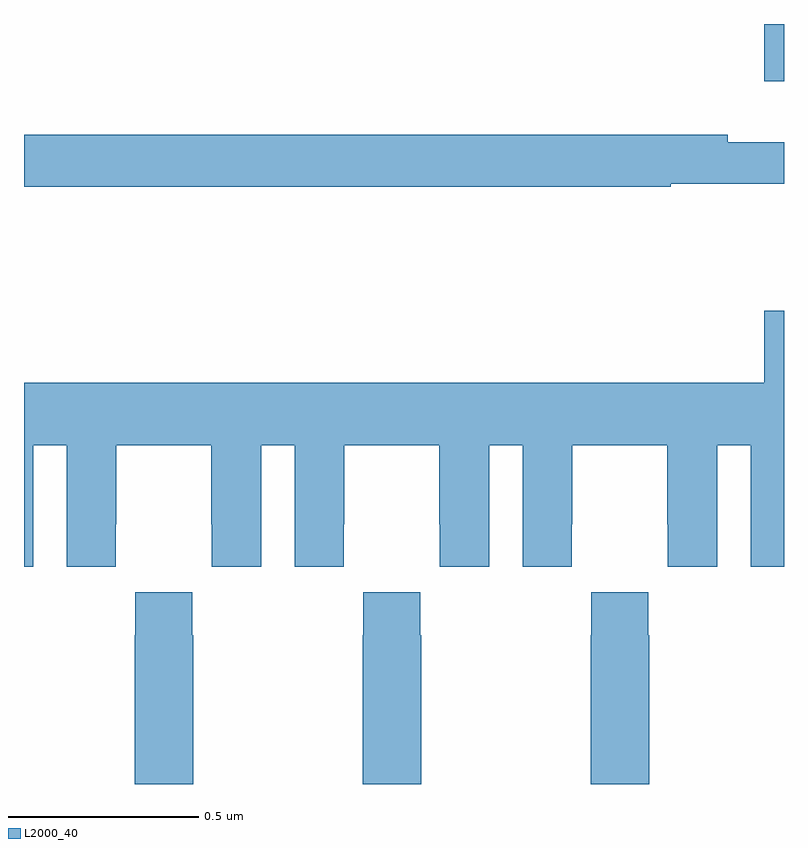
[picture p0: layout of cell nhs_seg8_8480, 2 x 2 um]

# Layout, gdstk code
import gdstk
lib = gdstk.Library(unit=1e-6, precision=1e-09)
def R(c, l, rs):  # rectangles x0, y0, x1, y1
    for r in rs: c.add(gdstk.rectangle(r[:2], r[2:], *l))
def P(c, l, *ps):  # polygons
    for p in ps: c.add(gdstk.Polygon(p, *l))
L2000_40 = (2000, 40)

nhs_seg8_8480 = lib.new_cell('nhs_seg8_8480')
R(nhs_seg8_8480, L2000_40, [(224.948,1158.75,225,1158.9)])
P(nhs_seg8_8480, L2000_40, [(224.702,1158.48),(225,1158.48),(225,1158.589),(224.852,1158.589),(224.852,1158.608),(223,1158.608),(223,1158.472),(224.702,1158.472)],
  [(223.024,1157.792),(223.112,1157.792),(223.112,1157.472),(223.242,1157.472),(223.242,1157.584),(223.243,1157.584),(223.243,1157.792),(223.493,1157.792),(223.493,1157.584),(223.494,1157.584),(223.494,1157.472),(223.624,1157.472),(223.624,1157.792),(223.712,1157.792),(223.712,1157.472),(223.842,1157.472),(223.842,1157.584),(223.843,1157.584),(223.843,1157.792),(224.093,1157.792),(224.093,1157.584),(224.094,1157.584),(224.094,1157.472),(224.224,1157.472),(224.224,1157.792),(224.312,1157.792),(224.312,1157.472),(224.442,1157.472),(224.442,1157.584),(224.443,1157.584),(224.443,1157.792),(224.693,1157.792),(224.693,1157.584),(224.694,1157.584),(224.694,1157.472),(224.824,1157.472),(224.824,1157.792),(224.912,1157.792),(224.912,1157.472),(225,1157.472),(225,1158.145),(224.948,1158.145),(224.948,1157.956),(223,1157.956),(223,1157.472),(223.024,1157.472)],
  [(224.646,1157.291),(224.643,1157.291),(224.643,1157.404),(224.493,1157.404),(224.493,1157.291),(224.491,1157.291),(224.491,1156.9),(224.646,1156.9)],
  [(224.046,1157.291),(224.043,1157.291),(224.043,1157.404),(223.893,1157.404),(223.893,1157.291),(223.891,1157.291),(223.891,1156.9),(224.046,1156.9)],
  [(223.446,1157.291),(223.443,1157.291),(223.443,1157.404),(223.293,1157.404),(223.293,1157.291),(223.291,1157.291),(223.291,1156.9),(223.446,1156.9)])

lib.write_gds('nhs_seg8_8480.gds')
